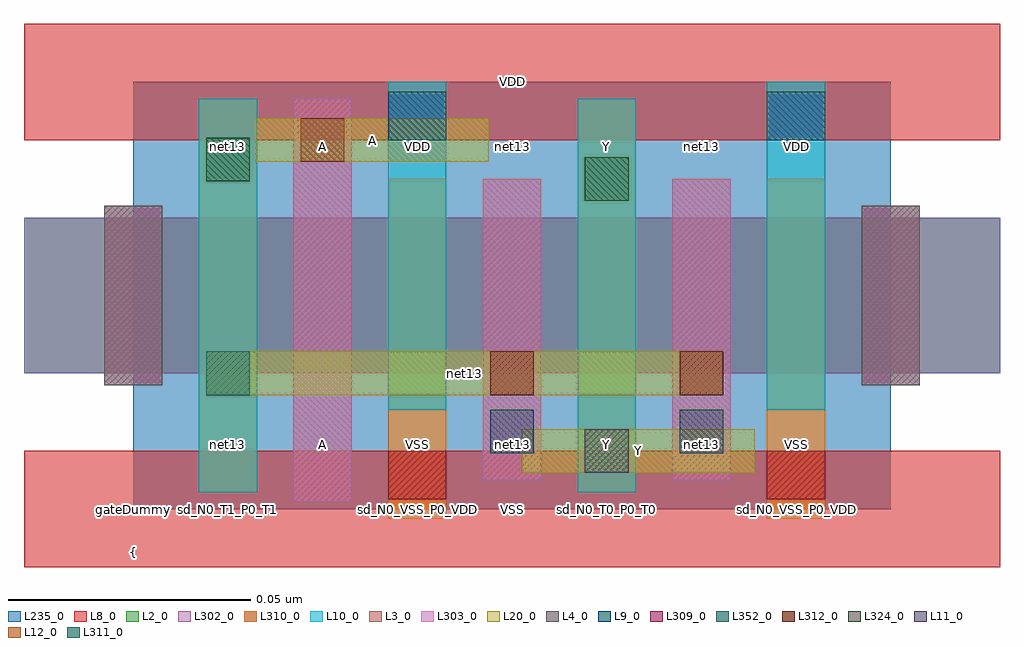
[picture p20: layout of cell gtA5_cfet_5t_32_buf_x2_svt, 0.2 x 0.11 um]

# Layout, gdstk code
import gdstk
lib = gdstk.Library(unit=1e-6, precision=2.5e-10)
def R(c, l, rs):  # rectangles x0, y0, x1, y1
    for r in rs: c.add(gdstk.rectangle(r[:2], r[2:], *l))
L2_0 = (2, 0)
L3_0 = (3, 0)
L4_0 = (4, 0)
L8_0 = (8, 0)
L9_0 = (9, 0)
L10_0 = (10, 0)
L11_0 = (11, 0)
L12_0 = (12, 0)
L20_0 = (20, 0)
L235_0 = (235, 0)
L302_0 = (302, 0)
L303_0 = (303, 0)
L309_0 = (309, 0)
L310_0 = (310, 0)
L311_0 = (311, 0)
L312_0 = (312, 0)
L324_0 = (324, 0)
L352_0 = (352, 0)

gta5_cfet_5t_32_buf_x2_s = lib.new_cell('gtA5_cfet_5t_32_buf_x2_svt')
R(gta5_cfet_5t_32_buf_x2_s, L2_0, [(-0.0225,0.028,0.1785,0.06)])
R(gta5_cfet_5t_32_buf_x2_s, L3_0, [(0.033,0.0015,0.045,0.0845), (0.072,0.006,0.084,0.068), (0.111,0.006,0.123,0.068), (-0.006,0.0255,0.006,0.0625), (0.15,0.0255,0.162,0.0625)])
R(gta5_cfet_5t_32_buf_x2_s, L4_0, [(-0.006,0.0255,0.006,0.0625), (0.15,0.0255,0.162,0.0625)])
R(gta5_cfet_5t_32_buf_x2_s, L8_0, [(-0.0225,-0.012,0.1785,0.012), (-0.0225,0.076,0.1785,0.1)])
R(gta5_cfet_5t_32_buf_x2_s, L9_0, [(0.0525,0.076,0.0645,0.086), (0.1305,0.076,0.1425,0.086)])
R(gta5_cfet_5t_32_buf_x2_s, L10_0, [(0.0135,0.0035,0.0255,0.0845), (0.0915,0.0035,0.1035,0.0845), (0.0525,0.0205,0.0645,0.088), (0.1305,0.0205,0.1425,0.088)])
R(gta5_cfet_5t_32_buf_x2_s, L11_0, [(0.093,0.0075,0.102,0.0165)])
R(gta5_cfet_5t_32_buf_x2_s, L12_0, [(0.0345,0.0715,0.0435,0.0805)])
R(gta5_cfet_5t_32_buf_x2_s, L20_0, [(0.08,0.0075,0.128,0.0165), (0.015,0.0235,0.1215,0.0325), (0.0253,0.0715,0.0732,0.0805)])
R(gta5_cfet_5t_32_buf_x2_s, L235_0, [(0,0,0.156,0.088)])
R(gta5_cfet_5t_32_buf_x2_s, L302_0, [(-0.0225,0.028,0.1785,0.06)])
R(gta5_cfet_5t_32_buf_x2_s, L303_0, [(0.033,0.0015,0.045,0.0845), (0.072,0.006,0.084,0.068), (0.111,0.006,0.123,0.068), (-0.006,0.0255,0.006,0.0625), (0.15,0.0255,0.162,0.0625)])
R(gta5_cfet_5t_32_buf_x2_s, L309_0, [(0.0525,0.002,0.0645,0.012), (0.1305,0.002,0.1425,0.012)])
R(gta5_cfet_5t_32_buf_x2_s, L310_0, [(0.0525,-0.002,0.0645,0.068), (0.1305,-0.002,0.1425,0.068), (0.0135,0.0035,0.0255,0.0845), (0.0915,0.0035,0.1035,0.0845)])
R(gta5_cfet_5t_32_buf_x2_s, L311_0, [(0.015,0.0235,0.024,0.0325)])
R(gta5_cfet_5t_32_buf_x2_s, L312_0, [(0.0735,0.0235,0.0825,0.0325), (0.1125,0.0235,0.1215,0.0325)])
R(gta5_cfet_5t_32_buf_x2_s, L324_0, [(0.093,0.0635,0.102,0.0725), (0.015,0.0675,0.024,0.0765)])
R(gta5_cfet_5t_32_buf_x2_s, L352_0, [(0.0735,0.0115,0.0825,0.0205), (0.1125,0.0115,0.1215,0.0205)])
gta5_cfet_5t_32_buf_x2_s.add(gdstk.Label('net13', (0.0683,0.028), layer=100, texttype=100))
gta5_cfet_5t_32_buf_x2_s.add(gdstk.Label('gateDummy', (0,0), layer=103, texttype=103))
gta5_cfet_5t_32_buf_x2_s.add(gdstk.Label('sd_N0_T1_P0_T1', (0.0195,0), layer=103, texttype=103))
gta5_cfet_5t_32_buf_x2_s.add(gdstk.Label('gate_N0_T4_P0_T4', (0.039,0), layer=103, texttype=103))
gta5_cfet_5t_32_buf_x2_s.add(gdstk.Label('sd_N0_VSS_P0_VDD', (0.0585,0), layer=103, texttype=103))
gta5_cfet_5t_32_buf_x2_s.add(gdstk.Label('gate_N0_T1_P0_T1', (0.078,0), layer=103, texttype=103))
gta5_cfet_5t_32_buf_x2_s.add(gdstk.Label('sd_N0_T0_P0_T0', (0.0975,0), layer=103, texttype=103))
gta5_cfet_5t_32_buf_x2_s.add(gdstk.Label('gate_N0_T1_P0_T1', (0.117,0), layer=103, texttype=103))
gta5_cfet_5t_32_buf_x2_s.add(gdstk.Label('sd_N0_VSS_P0_VDD', (0.1365,0), layer=103, texttype=103))
gta5_cfet_5t_32_buf_x2_s.add(gdstk.Label('gateDummy', (0.156,0), layer=103, texttype=103))
gta5_cfet_5t_32_buf_x2_s.add(gdstk.Label('}', (0,-0.0963), layer=104, texttype=104))
gta5_cfet_5t_32_buf_x2_s.add(gdstk.Label('  power : None', (0,-0.0875), layer=104, texttype=104))
gta5_cfet_5t_32_buf_x2_s.add(gdstk.Label('  performance : None', (0,-0.0788), layer=104, texttype=104))
gta5_cfet_5t_32_buf_x2_s.add(gdstk.Label("  solution_hash : '16904790207153420451'", (0,-0.07), layer=104, texttype=104))
gta5_cfet_5t_32_buf_x2_s.add(gdstk.Label('  number_m2 : 0', (0,-0.0612), layer=104, texttype=104))
gta5_cfet_5t_32_buf_x2_s.add(gdstk.Label('  number_m1 : 0', (0,-0.0525), layer=104, texttype=104))
gta5_cfet_5t_32_buf_x2_s.add(gdstk.Label('  number_m0cuts : 0', (0,-0.0438), layer=104, texttype=104))
gta5_cfet_5t_32_buf_x2_s.add(gdstk.Label('  number_m0 : 3', (0,-0.035), layer=104, texttype=104))
gta5_cfet_5t_32_buf_x2_s.add(gdstk.Label("  solution_number : '0000'", (0,-0.0262), layer=104, texttype=104))
gta5_cfet_5t_32_buf_x2_s.add(gdstk.Label("  placement_id : '15634567858323800299'", (0,-0.0175), layer=104, texttype=104))
gta5_cfet_5t_32_buf_x2_s.add(gdstk.Label('{', (0,-0.0088), layer=104, texttype=104))
gta5_cfet_5t_32_buf_x2_s.add(gdstk.Label('net13', (0.0195,0.0132), layer=105, texttype=105))
gta5_cfet_5t_32_buf_x2_s.add(gdstk.Label('A', (0.039,0.0132), layer=105, texttype=105))
gta5_cfet_5t_32_buf_x2_s.add(gdstk.Label('VSS', (0.0585,0.0132), layer=105, texttype=105))
gta5_cfet_5t_32_buf_x2_s.add(gdstk.Label('net13', (0.078,0.0132), layer=105, texttype=105))
gta5_cfet_5t_32_buf_x2_s.add(gdstk.Label('Y', (0.0975,0.0132), layer=105, texttype=105))
gta5_cfet_5t_32_buf_x2_s.add(gdstk.Label('net13', (0.117,0.0132), layer=105, texttype=105))
gta5_cfet_5t_32_buf_x2_s.add(gdstk.Label('VSS', (0.1365,0.0132), layer=105, texttype=105))
gta5_cfet_5t_32_buf_x2_s.add(gdstk.Label('net13', (0.0195,0.0747), layer=105, texttype=105))
gta5_cfet_5t_32_buf_x2_s.add(gdstk.Label('A', (0.039,0.0747), layer=105, texttype=105))
gta5_cfet_5t_32_buf_x2_s.add(gdstk.Label('VDD', (0.0585,0.0747), layer=105, texttype=105))
gta5_cfet_5t_32_buf_x2_s.add(gdstk.Label('net13', (0.078,0.0747), layer=105, texttype=105))
gta5_cfet_5t_32_buf_x2_s.add(gdstk.Label('Y', (0.0975,0.0747), layer=105, texttype=105))
gta5_cfet_5t_32_buf_x2_s.add(gdstk.Label('net13', (0.117,0.0747), layer=105, texttype=105))
gta5_cfet_5t_32_buf_x2_s.add(gdstk.Label('VDD', (0.1365,0.0747), layer=105, texttype=105))
gta5_cfet_5t_32_buf_x2_s.add(gdstk.Label('VSS', (0.078,0), layer=8, texttype=0))
gta5_cfet_5t_32_buf_x2_s.add(gdstk.Label('VDD', (0.078,0.088), layer=8, texttype=0))
gta5_cfet_5t_32_buf_x2_s.add(gdstk.Label('Y', (0.104,0.012), layer=20, texttype=251))
gta5_cfet_5t_32_buf_x2_s.add(gdstk.Label('A', (0.0493,0.076), layer=20, texttype=251))
gta5_cfet_5t_32_buf_x2_s.add(gdstk.Label('gtA5_cfet_5t_32_buf_x2_rvt_0', (0,0), layer=235, texttype=0))

lib.write_gds('gtA5_cfet_5t_32_buf_x2_svt.gds')
